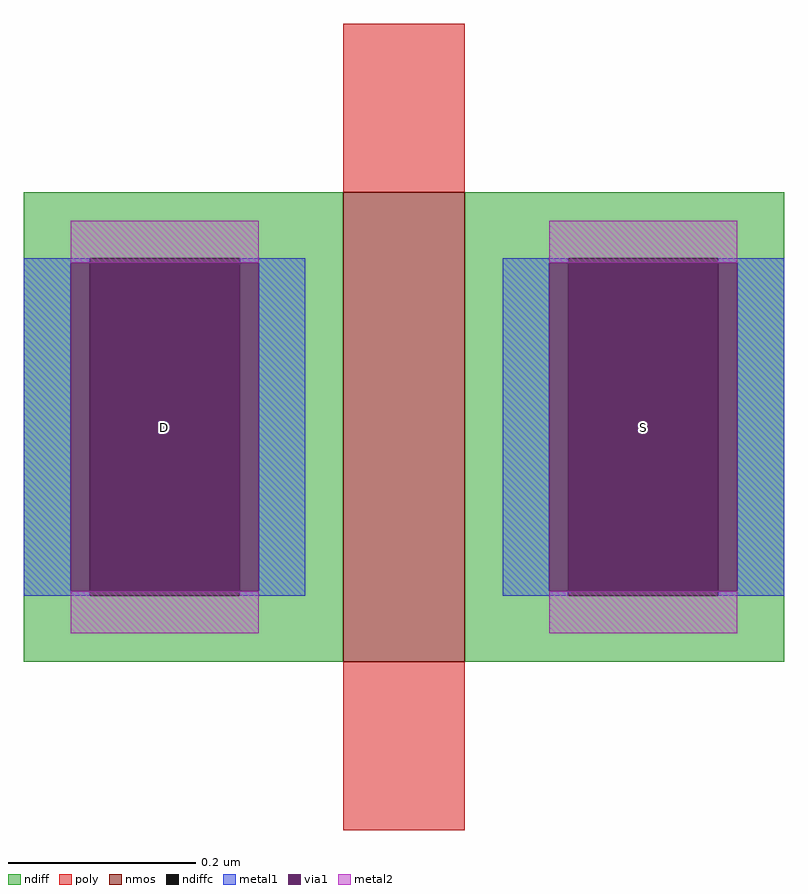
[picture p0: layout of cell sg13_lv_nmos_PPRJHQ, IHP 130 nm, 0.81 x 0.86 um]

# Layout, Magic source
magic
tech ihp-sg13g2
magscale 1 2
<< nmos >>
rect -13 -50 13 50
<< ndiff >>
rect -81 36 -13 50
rect -81 -36 -67 36
rect -35 -36 -13 36
rect -81 -50 -13 -36
rect 13 36 81 50
rect 13 -36 35 36
rect 67 -36 81 36
rect 13 -50 81 -36
<< ndiffc >>
rect -67 -36 -35 36
rect 35 -36 67 36
<< poly >>
rect -13 50 13 86
rect -13 -86 13 -50
<< metal1 >>
rect -81 35 -67 36
rect -35 35 -21 36
rect -81 -35 -71 35
rect -31 -35 -21 35
rect -81 -36 -67 -35
rect -35 -36 -21 -35
rect 21 35 35 36
rect 67 35 81 36
rect 21 -35 31 35
rect 71 -35 81 35
rect 21 -36 35 -35
rect 67 -36 81 -35
<< via1 >>
rect -71 -35 -67 35
rect -67 -35 -35 35
rect -35 -35 -31 35
rect 31 -35 35 35
rect 35 -35 67 35
rect 67 -35 71 35
<< metal2 >>
rect -71 35 -31 44
rect -71 -44 -31 -35
rect 31 35 71 44
rect 31 -44 71 -35
<< labels >>
rlabel ndiffc -51 0 -51 0 0 D
port 1 nsew
rlabel ndiffc 51 0 51 0 0 S
port 2 nsew
<< properties >>
string gencell sg13_lv_nmos
string library sg13g2
string parameters w 0.5 l 0.13 m 1 nf 1 diffcov 100 polycov 100 guard 0 glc 1 grc 1 gtc 1 gbc 1 tbcov 100 rlcov 100 topc 0 botc 0 poverlap 0 doverlap 1 lmin 0.13 wmin 0.15 class mosfet compatible {sg13_lv_nmos sg13_hv_nmos} full_metal 1 conn_gates 0 gate_ring 0 doports 1 viasrc 100 viadrn 100 viagate 100 ccols 1 viagb 0 viagr 0 viagl 0 viagt 0
<< end >>
